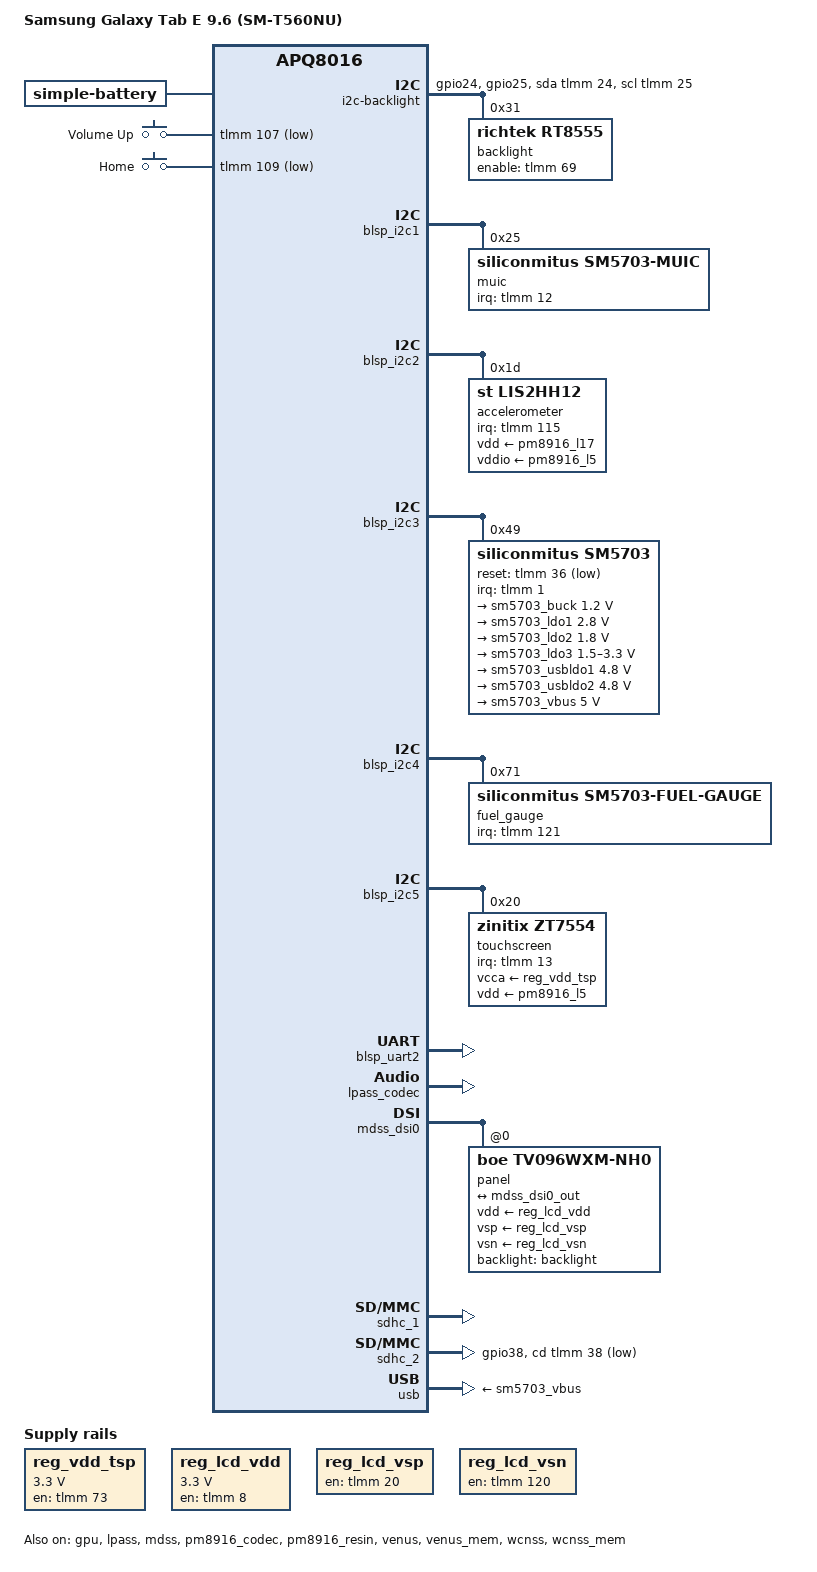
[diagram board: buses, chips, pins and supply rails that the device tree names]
// SPDX-License-Identifier: GPL-2.0-only

/dts-v1/;

#include "msm8916-pm8916.dtsi"
#include <dt-bindings/sound/apq8016-lpass.h>
#include <dt-bindings/gpio/gpio.h>
#include <dt-bindings/interrupt-controller/irq.h>

/ {
	model = "Samsung Galaxy Tab E 9.6 (SM-T560NU)";
	compatible = "samsung,gtelwifiue", "qcom,apq8016";
	chassis-type = "tablet";

	aliases {
		mmc0 = &sdhc_1; /* eMMC */
		mmc1 = &sdhc_2; /* SD card */
		serial0 = &blsp_uart2;
	};

	chosen {
		stdout-path = "serial0";
	};

	battery: battery {
		compatible = "simple-battery";
		device-chemistry = "lithium-ion";
		charge-full-design-microamp-hours = <5000000>;
		voltage-min-design-microvolt = <3400000>;
		voltage-max-design-microvolt = <4350000>;
		constant-charge-current-max-microamp = <1500000>;
		constant-charge-voltage-max-microvolt = <4350000>;
		charge-term-current-microamp = <275000>;
		operating-range-celsius = <(-5) 60>;
		alert-celsius = <0 45>;
	};

	reserved-memory {
		/* Additional memory used by Samsung firmware modifications */
		tz-apps@85500000 {
			reg = <0x0 0x85500000 0x0 0xb00000>;
			no-map;
		};
	};

	i2c-backlight {
		compatible = "i2c-gpio";
		sda-gpios = <&tlmm 24 (GPIO_ACTIVE_HIGH | GPIO_OPEN_DRAIN)>;
		scl-gpios = <&tlmm 25 (GPIO_ACTIVE_HIGH | GPIO_OPEN_DRAIN)>;

		pinctrl-0 = <&backlight_i2c_default>;
		pinctrl-names = "default";

		#address-cells = <1>;
		#size-cells = <0>;

		backlight: backlight@31 {
			compatible = "richtek,rt8555";
			reg = <0x31>;

			enable-gpios = <&tlmm 69 GPIO_ACTIVE_HIGH>;
			pinctrl-0 = <&backlight_enable_default>;
			pinctrl-names = "default";

			max-brightness = <255>;
			default-brightness = <120>;
			richtek,led-current-microamp = <25000>;
			richtek,led-driver-headroom-microvolt = <570000>;
			richtek,device-config = /bits/ 8 <0x05 0x08>;
		};
	};

	gpio-keys {
		compatible = "gpio-keys";

		pinctrl-0 = <&gpio_keys_default>;
		pinctrl-names = "default";

		label = "GPIO Buttons";

		volume-up-button {
			label = "Volume Up";
			gpios = <&tlmm 107 GPIO_ACTIVE_LOW>;
			linux,code = <KEY_VOLUMEUP>;
		};

		home-button {
			label = "Home";
			gpios = <&tlmm 109 GPIO_ACTIVE_LOW>;
			linux,code = <KEY_HOMEPAGE>;
		};
	};

	reg_vdd_tsp: regulator-vdd-tsp {
		compatible = "regulator-fixed";
		regulator-name = "vdd_tsp";
		regulator-min-microvolt = <3300000>;
		regulator-max-microvolt = <3300000>;

		gpio = <&tlmm 73 GPIO_ACTIVE_HIGH>;
		enable-active-high;

		pinctrl-0 = <&reg_tsp_en_default>;
		pinctrl-names = "default";

		startup-delay-us = <150>;
	};

	reg_lcd_vdd: regulator-lcd-vdd {
		compatible = "regulator-fixed";
		regulator-name = "lcd-vdd";
		regulator-min-microvolt = <3300000>;
		regulator-max-microvolt = <3300000>;

		gpio = <&tlmm 8 GPIO_ACTIVE_HIGH>;
		enable-active-high;

		pinctrl-0 = <&lcd_vdd_en_default>;
		pinctrl-names = "default";
	};

	reg_lcd_vsp: regulator-lcd-vsp {
		compatible = "regulator-fixed";
		regulator-name = "lcd-vsp";

		gpio = <&tlmm 20 GPIO_ACTIVE_HIGH>;
		enable-active-high;

		pinctrl-0 = <&lcd_vsp_en_default>;
		pinctrl-names = "default";
	};

	reg_lcd_vsn: regulator-lcd-vsn {
		compatible = "regulator-fixed";
		regulator-name = "lcd-vsn";

		gpio = <&tlmm 120 GPIO_ACTIVE_HIGH>;
		enable-active-high;

		pinctrl-0 = <&lcd_vsn_en_default>;
		pinctrl-names = "default";
	};
};

&blsp_i2c1 {
	status = "okay";

	muic: extcon@25 {
		compatible = "siliconmitus,sm5703-muic";
		reg = <0x25>;

		interrupt-parent = <&tlmm>;
		interrupts = <12 IRQ_TYPE_EDGE_FALLING>;
		wakeup-source;

		pinctrl-0 = <&muic_int_default>;
		pinctrl-names = "default";

		usb_con: connector {
			compatible = "usb-b-connector";
			label = "micro-USB";
			type = "micro";
		};
	};
};

&blsp_i2c2 {
	status = "okay";

	accelerometer@1d {
		compatible = "st,lis2hh12";
		reg = <0x1d>;

		vdd-supply = <&pm8916_l17>;
		vddio-supply = <&pm8916_l5>;

		interrupt-parent = <&tlmm>;
		interrupts = <115 IRQ_TYPE_LEVEL_HIGH>;
		interrupt-names = "INT1";

		st,drdy-int-pin = <1>;
		mount-matrix = "0", "1", "0",
				  "-1", "0", "0",
				   "0", "0", "1";

		pinctrl-0 = <&accel_int_default>;
		pinctrl-names = "default";
	};
};

&blsp_i2c3 {
	status = "okay";

	sm5703: pmic@49 {
		compatible = "siliconmitus,sm5703";
		reg = <0x49>;

		interrupt-parent = <&tlmm>;
		interrupts = <1 IRQ_TYPE_EDGE_FALLING>;
		reset-gpios = <&tlmm 36 GPIO_ACTIVE_LOW>;

		pinctrl-0 = <&sm5703_default>;
		pinctrl-names = "default";
		wakeup-source;

		regulators {
			sm5703_buck: buck {
				regulator-name = "cam_sensor_core_1p2";
				regulator-min-microvolt = <1200000>;
				regulator-max-microvolt = <1200000>;
			};

			sm5703_ldo1: ldo1 {
				regulator-name = "cam_sensor_a2p8";
				regulator-min-microvolt = <2800000>;
				regulator-max-microvolt = <2800000>;
			};

			sm5703_ldo2: ldo2 {
				regulator-name = "cam_vio";
				regulator-min-microvolt = <1800000>;
				regulator-max-microvolt = <1800000>;
			};

			sm5703_ldo3: ldo3 {
				regulator-name = "vdd_motor";
				regulator-min-microvolt = <1500000>;
				regulator-max-microvolt = <3300000>;
			};

			sm5703_usbldo1: usbldo1 {
				regulator-name = "usbldo1";
				regulator-min-microvolt = <4800000>;
				regulator-max-microvolt = <4800000>;
				regulator-always-on;
			};

			sm5703_usbldo2: usbldo2 {
				regulator-name = "usbldo2";
				regulator-min-microvolt = <4800000>;
				regulator-max-microvolt = <4800000>;
			};

			sm5703_vbus: vbus {
				regulator-name = "usb_vbus";
				regulator-min-microvolt = <5000000>;
				regulator-max-microvolt = <5000000>;
				regulator-max-microamp = <1200000>;
			};
		};

		charger: charger {
			compatible = "siliconmitus,sm5703-charger";
			monitored-battery = <&battery>;
			siliconmitus,monitored-fuel-gauge = <&fuel_gauge>;
			siliconmitus,usb-connector = <&usb_con>;
			enable-gpios = <&tlmm 119 GPIO_ACTIVE_LOW>;
			input-current-limit-microamp = <1000000>;
			input-voltage-limit-microvolt = <4300000>;
			siliconmitus,topoff-timer-minutes = <45>;
			siliconmitus,boost-iq3-limit-1x;
		};
	};
};

&blsp_i2c4 {
	status = "okay";

	fuel_gauge: fuel-gauge@71 {
		compatible = "siliconmitus,sm5703-fuel-gauge";
		reg = <0x71>;

		interrupt-parent = <&tlmm>;
		interrupts = <121 IRQ_TYPE_EDGE_FALLING>;
		pinctrl-0 = <&fuel_gauge_int_default>;
		pinctrl-names = "default";
		wakeup-source;

		monitored-battery = <&battery>;
		power-supplies = <&charger>;

		siliconmitus,battery-table-0 =
			<0x1400 0x1b99 0x1bfd 0x1cb5 0x1d65 0x1d9c 0x1dee 0x1e72
			 0x1ee4 0x1f4d 0x1ff9 0x2077 0x2099 0x220a 0x2270 0x2399>;
		siliconmitus,battery-table-1 =
			<0x1400 0x1b99 0x1bfd 0x1cb5 0x1d65 0x1d9c 0x1dee 0x1e72
			 0x1ee4 0x1f4d 0x1ff9 0x2077 0x2099 0x220a 0x2270 0x2399>;
		siliconmitus,battery-table-2 =
			<0x0000 0x0095 0x00e0 0x01b1 0x0327 0x076a 0x0bbd 0x18a5
			 0x1fc5 0x22a1 0x29d0 0x2cad 0x2e13 0x381f 0x3a66 0x3a93>;
		siliconmitus,rce-values = <0x0749 0x0580 0x0371>;
		siliconmitus,dtcd-value = <1>;
		siliconmitus,rs-values = <0x01ae 0x047a 0x3800 0x00a4>;
		siliconmitus,vit-period = <0x350a>;
		siliconmitus,mix-values = <0x0503 0x0004>;
		siliconmitus,topoff-soc-values = <0 0x0101>;
		siliconmitus,voltage-calibration = <0x8000>;
		siliconmitus,current-calibration = <0x7085>;
		siliconmitus,temperature-standard-celsius = <25>;
		siliconmitus,temperature-offset-divisor = <10>;
		siliconmitus,temperature-offset-calibration = <1>;
		siliconmitus,charge-offset-calibration = <12>;
		siliconmitus,fuel-alert-soc = <1>;
		siliconmitus,voltage-alert-microvolt = <3125000>;
	};
};

&blsp_i2c5 {
	status = "okay";

	touchscreen@20 {
		compatible = "zinitix,zt7554";
		reg = <0x20>;
		interrupt-parent = <&tlmm>;
		interrupts = <13 IRQ_TYPE_EDGE_FALLING>;

		touchscreen-size-x = <800>;
		touchscreen-size-y = <1280>;
		linux,keycodes = <KEY_APPSELECT KEY_BACK>;
		extcon = <&muic>;

		vcca-supply = <&reg_vdd_tsp>;
		vdd-supply = <&pm8916_l5>;

		pinctrl-0 = <&tsp_int_default>;
		pinctrl-names = "default";
	};
};

&blsp_uart2 {
	status = "okay";
};

&gpu {
	status = "okay";
};

&lpass {
	status = "okay";
};

&lpass_codec {
	status = "okay";
};

&mdss {
	status = "okay";
};

&mdss_dsi0 {
	panel@0 {
		compatible = "boe,tv096wxm-nh0";
		reg = <0>;

		backlight = <&backlight>;
		vdd-supply = <&reg_lcd_vdd>;
		vsp-supply = <&reg_lcd_vsp>;
		vsn-supply = <&reg_lcd_vsn>;

		port {
			panel_in: endpoint {
				remote-endpoint = <&mdss_dsi0_out>;
			};
		};
	};
};

&mdss_dsi0_out {
	data-lanes = <0 1 2 3>;
	remote-endpoint = <&panel_in>;
};

&pm8916_codec {
	jack-gpios = <&tlmm 110 GPIO_ACTIVE_LOW>;
	qcom,micbias-lvl = <2800>;

	qcom,mbhc-vthreshold-low = <75 150 237 450 500>;
	qcom,mbhc-vthreshold-high = <75 150 237 450 500>;

	pinctrl-0 = <&jack_default>;
	pinctrl-names = "default";

	status = "okay";
};

&pm8916_resin {
	linux,code = <KEY_VOLUMEDOWN>;
	status = "okay";
};

&pm8916_rpm_regulators {
	pm8916_l17: l17 {
		regulator-min-microvolt = <2850000>;
		regulator-max-microvolt = <2850000>;
	};
};

&sdhc_1 {
	status = "okay";
};

&sdhc_2 {
	pinctrl-0 = <&sdc2_default &sdc2_cd_default>;
	pinctrl-1 = <&sdc2_sleep &sdc2_cd_default>;
	pinctrl-names = "default", "sleep";

	cd-gpios = <&tlmm 38 GPIO_ACTIVE_LOW>;

	status = "okay";
};

&sound {
	pinctrl-0 = <&cdc_pdm_default>;
	pinctrl-1 = <&cdc_pdm_sleep>;
	pinctrl-names = "default", "sleep";

	model = "msm8916";
	audio-routing =
		"AMIC1", "MIC BIAS Internal1",
		"AMIC2", "MIC BIAS Internal2";

	status = "okay";

	dai-link-primary {
		link-name = "Primary MI2S";

		cpu {
			sound-dai = <&lpass MI2S_PRIMARY>;
		};

		codec {
			sound-dai = <&lpass_codec 0>, <&pm8916_codec 0>;
		};
	};

	dai-link-tertiary {
		link-name = "Tertiary MI2S";

		cpu {
			sound-dai = <&lpass MI2S_TERTIARY>;
		};

		codec {
			sound-dai = <&lpass_codec 1>, <&pm8916_codec 1>;
		};
	};
};

&usb {
	extcon = <&muic>, <&muic>;
	vbus-supply = <&sm5703_vbus>;
	status = "okay";
};

&usb_hs_phy {
	extcon = <&muic>;
};

&venus {
	status = "okay";
};

&venus_mem {
	status = "okay";
};

&wcnss {
	status = "okay";
};

&wcnss_iris {
	compatible = "qcom,wcn3660b";
};

&wcnss_mem {
	status = "okay";
};

&tlmm {
	accel_int_default: accel-int-default-state {
		pins = "gpio115";
		function = "gpio";
		drive-strength = <2>;
		bias-disable;
	};

	backlight_enable_default: backlight-enable-default-state {
		pins = "gpio69";
		function = "gpio";
		drive-strength = <2>;
		bias-disable;
	};

	backlight_i2c_default: backlight-i2c-default-state {
		pins = "gpio24", "gpio25";
		function = "gpio";
		drive-strength = <2>;
		bias-disable;
	};

	jack_default: jack-default-state {
		pins = "gpio110";
		function = "gpio";
		drive-strength = <2>;
		bias-disable;
	};

	gpio_keys_default: gpio-keys-default-state {
		pins = "gpio107", "gpio109";
		function = "gpio";
		drive-strength = <2>;
		bias-pull-up;
	};

	muic_int_default: muic-int-default-state {
		pins = "gpio12";
		function = "gpio";
		drive-strength = <2>;
		bias-disable;
	};

	fuel_gauge_int_default: fuel-gauge-int-default-state {
		pins = "gpio121";
		function = "gpio";
		drive-strength = <2>;
		bias-disable;
	};

	lcd_vdd_en_default: lcd-vdd-en-default-state {
		pins = "gpio8";
		function = "gpio";
		drive-strength = <2>;
		bias-disable;
	};

	lcd_vsp_en_default: lcd-vsp-en-default-state {
		pins = "gpio20";
		function = "gpio";
		drive-strength = <2>;
		bias-disable;
	};

	lcd_vsn_en_default: lcd-vsn-en-default-state {
		pins = "gpio120";
		function = "gpio";
		drive-strength = <2>;
		bias-disable;
	};

	reg_tsp_en_default: reg-tsp-en-default-state {
		pins = "gpio73";
		function = "gpio";
		drive-strength = <2>;
		bias-disable;
	};

	sm5703_default: sm5703-default-state {
		pins = "gpio1", "gpio36", "gpio119";
		function = "gpio";
		drive-strength = <2>;
		bias-disable;
	};

	sdc2_cd_default: sdc2-cd-default-state {
		pins = "gpio38";
		function = "gpio";
		drive-strength = <2>;
		bias-disable;
	};

	tsp_int_default: tsp-int-default-state {
		pins = "gpio13";
		function = "gpio";
		drive-strength = <2>;
		bias-disable;
	};
};
